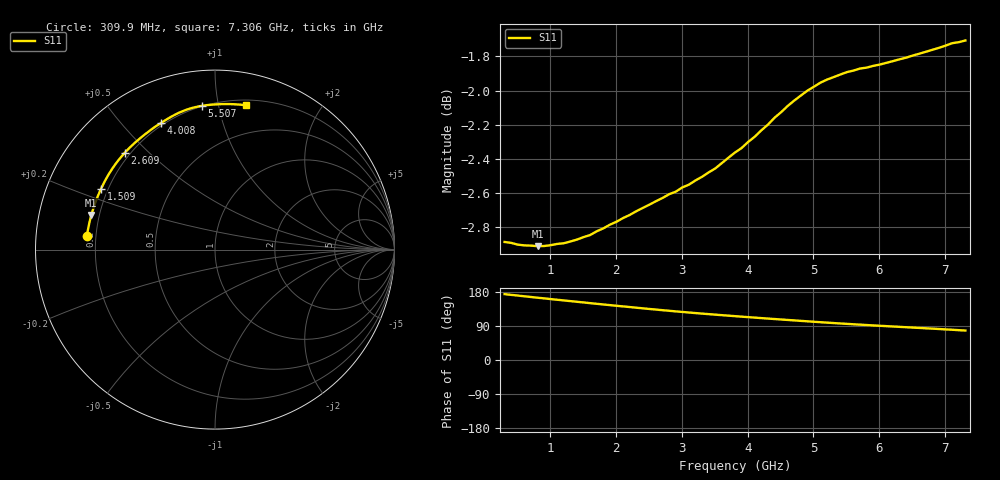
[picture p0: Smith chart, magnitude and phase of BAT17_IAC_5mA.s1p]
! Infineon Technologies  Discrete & RF Semiconductors
! BAT17
! IAC = 5 mA
! One-Port S-Parameters
# Hz  S  MA  R  50
!f  S11
!Hz  Mag  Ang
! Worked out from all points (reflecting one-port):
!   71 points, 309.9 MHz to 7.306 GHz, reference 50 ohm
!   lowest |S11| = -2.9 dB at 809.6 MHz (marker M1), VSWR 6.02, Z = 8.45 + j6.65 ohm
!   phase of S11 starts at 174 deg and turns -96 deg over the sweep
!   S11 on the Smith chart (normalised r, x): 309.9 MHz: 0.17, +0.05; 1.509 GHz: 0.17, +0.24; 2.609 GHz: 0.18, +0.42; 4.008 GHz: 0.19, +0.64; 5.507 GHz: 0.20, +0.89; 7.306 GHz: 0.25, +1.21
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3.0985e8  0.7173 173.8
5.0975e8  0.716 170.0
8.096e8  0.7153 164.4
1.0095e9  0.7158 160.7
1.10945e9  0.7164 159.0
1.2094e9  0.7167 157.2
1.50925e9  0.7197 151.9
1.8091e9  0.7239 146.6
2.10895e9  0.729 141.4
2.30885e9  0.7323 138.0
2.6087e9  0.7373 133.1
2.70865e9  0.7389 131.4
3.0085e9  0.7442 126.8
3.30835e9  0.7495 122.4
3.6082e9  0.7565 118.3
3.8081e9  0.7619 115.7
4.008e9  0.7673 113.1
4.4078e9  0.7799 108.1
4.70765e9  0.789 104.5
4.90755e9  0.7943 102.1
5.10745e9  0.7986 99.7
5.4073e9  0.803 96.3
5.50725e9  0.8043 95.3
5.6072e9  0.8051 94.2
6.10695e9  0.8093 89.3
6.50675e9  0.8133 85.6
7.10645e9  0.8201 79.8
7.30635e9  0.8216 77.7
